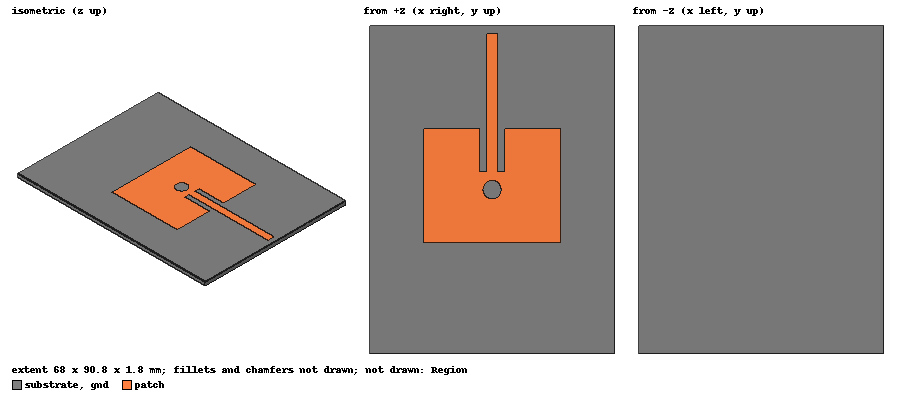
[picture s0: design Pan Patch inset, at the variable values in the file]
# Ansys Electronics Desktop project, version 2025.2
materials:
  FR4_epoxy: permittivity=4.4 dielectric_loss_tangent=0.02
  vacuum: permittivity=1

design Pan Patch inset (HFSS, HFSS Terminal Network, model units mm)
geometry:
  gnd = rectangle(corner=(0mm, 0mm, 0mm), x_size=68mm, y_size=90.8mm)
  gnd.move(-34mm, -45.4mm, 0mm)
  substrate [FR4_epoxy] = box(corner=(-34mm, -45.4mm, 0mm), size=(68mm, 90.8mm, 1.8mm))
  patch = rectangle(corner=(0mm, 0mm, 1.8mm), x_size=38mm, y_size=31.5mm)
  patch.move(-19mm, -14.7mm, 0mm)
  Rectangle2 = rectangle(corner=(0.2mm, 14.7mm, 1.8mm), x_size=3mm, y_size=28.54mm)
  Rectangle2.move(-1.7mm, 0mm, 0mm)
  Rectangle3 = rectangle(corner=(1.7mm, 14.7mm, 1.8mm), x_size=1.72mm, y_size=9.75mm)
  Rectangle3.move(0.04mm, -9.775mm, -2.220446e-16mm)
  Rectangle3_1 = Rectangle3.duplicate_along_line(step=(-5.2mm, 1.7763568e-15mm, 2.220446e-16mm), total=2)
  Rectangle3_1.move(4.4408921e-16mm, 0.025mm, -2.220446e-16mm)
  Rectangle3_1.move(0.04mm, 0mm, 2.220446e-16mm)
  Rectangle3.move(0mm, 0.025mm, 2.220446e-16mm)
  Rectangle3.move(-0.04mm, 0mm, -2.220446e-16mm)
  patch.unite(Rectangle2)
  patch.subtract(Rectangle3, Rectangle3_1)
  port = rectangle(corner=(1.7mm, 43.24mm, 1.8mm), z_size=-1.8mm, x_size=-3.4mm)
  patch.chamfer(Vertices=patch.vertex(at (-19, 16.8, 1.8)) LeftDistance=10mm RightDistance=10mm ChamferType=Symmetric)
  patch.chamfer(Vertices=patch.vertex(at (19, 16.8, 1.8)) LeftDistance=10mm RightDistance=10mm ChamferType=Symmetric)
  point Point1 = (-16mm, 6mm, 0mm)
  Rectangle5 = rectangle(corner=(-1.7mm, 17.7mm, 1.8mm), x_size=-1.72mm, y_size=-3mm)
  Rectangle5.move(5.12mm, 0mm, -2.220446e-16mm)
  Rectangle5_1 = Rectangle5.duplicate_along_line(step=(-5.12mm, 0mm, 4.4408921e-16mm), total=2)
  patch.subtract(Rectangle5, Rectangle5_1)
  Region [vacuum] = region(transverse_percentage_offset: +X=50, -X=50, +Y=60, -Y=60, +Z=40, -Z=40)
  Circle1 = circle(normal=Z, centre=(0mm, 0mm, 1.8mm), radius=2.5mm)
  patch.subtract(Circle1)
  Rectangle6 = rectangle(corner=(1.5mm, 17.7mm, 1.8mm), x_size=0.2mm, y_size=-12.75mm)
  Rectangle6_1 = Rectangle6.duplicate_along_line(step=(-3.2mm, 8.8817842e-16mm, 0mm), total=2)
  patch.subtract(Rectangle6, Rectangle6_1)
  patch.fillet(Vertices=patch.vertex(at (-9, 16.8, 1.8)) Radius=3mm Setback=0mm)
  patch.fillet(Vertices=patch.vertex(at (9, 16.8, 1.8)) Radius=3mm Setback=0mm)
  patch.fillet(Vertices=patch.vertex(at (-19, 6.8, 1.8)) Radius=3mm Setback=0mm)
  patch.fillet(Vertices=patch.vertex(at (19, 6.8, 1.8)) Radius=3mm Setback=0mm)
  patch.fillet(Vertices=patch.vertex(at (-3.42, 16.8, 1.8)) Radius=3mm Setback=0mm)
  patch.fillet(Vertices=patch.vertex(at (3.42, 16.8, 1.8)) Radius=3mm Setback=0mm)
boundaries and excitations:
  gnd: Perfect E Objects=gnd
  patch: Perfect E Objects=patch
  region: Radiation Objects=Region
  1: Lumped Port Objects=port LumpedPortType=Modal Modes{Mode1{IntLine{(0, 43.24, 0) -> (0, 43.24, 1.8)} CharImp=Zpi}} Impedance=50ohm
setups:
  Setup1: HfssDriven Frequency=2.4GHz MaxDeltaS=0.02 MaximumPasses=12 MinimumPasses=1 MinimumConvergedPasses=1 PercentRefinement=30 BasisOrder=1 PortAccuracy=2 DrivenSolverType="Direct Solver"
    sweep Sweep: 1.2GHz to 3.6GHz, 401 points; Type=Interpolating SaveFields InterpTolerance=0.5 InterpMaxSolns=250 PassivityErrorTolerance=0.0001
    sweep Sweep1: 1GHz to 3GHz step 0.01GHz; Type=Fast SaveFields
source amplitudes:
  1:1: 1V 0deg
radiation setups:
  Infinite Sphere1: Infinite Sphere Theta=0deg..180deg step 10deg Phi=0deg..360deg step 10deg
  Infinite Sphere2: Infinite Sphere Theta=-180deg..180deg step 2deg Phi=0deg..360deg step 2deg
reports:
  S Parameter Plot1: dB(S(1,1)) vs Freq on Setup1 : Sweep; markers m1 at 2.424GHz
  VSWR Plot2: VSWR(1) vs Freq on Setup1 : Sweep; markers m1 at 2.43GHz
  Gain Plot1: dB(GainTotal) vs Phi, Theta on Setup1 : LastAdaptive, Infinite Sphere1 [Freq=2.4GHz]
  Gain Plot7: dB(GainTotal) vs Theta on Setup1 : LastAdaptive, Infinite Sphere2 [Phi=0deg,180deg Freq=2.4GHz]
